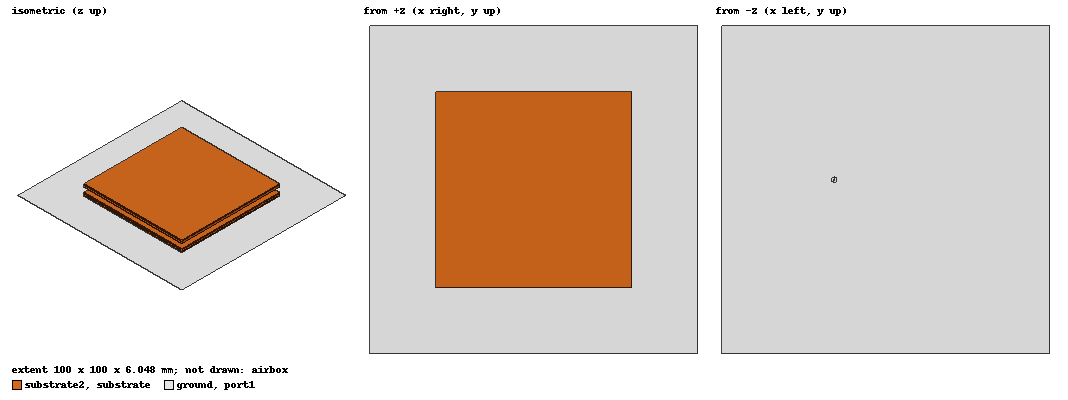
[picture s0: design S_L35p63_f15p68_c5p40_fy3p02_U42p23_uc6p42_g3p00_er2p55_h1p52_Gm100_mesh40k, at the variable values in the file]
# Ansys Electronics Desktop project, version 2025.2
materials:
  vacuum: permittivity=1
  substrate_design: permittivity=2.55 permeability=1 dielectric_loss_tangent=0.0018
  copper: permeability=0.999991 conductivity=58000000
  pec: conductivity=1e+30

design S_L35p63_f15p68_c5p40_fy3p02_U42p23_uc6p42_g3p00_er2p55_h1p52_Gm100_mesh40k (HFSS, HFSS Modal Network, model units mm)
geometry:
  substrate [substrate_design] = box(corner=(-30mm, -30mm, 0mm), size=(60mm, 60mm, 1.524mm))
  ground = rectangle(corner=(-50mm, -50mm, 0mm), x_size=100mm, y_size=100mm)
  hole1 = circle(normal=Z, centre=(15.68mm, 3.02mm, 0mm), radius=0.8mm)
  ground.subtract(hole1)
  patch = polyline(z=1.524mm, xy in mm: (-12.415, 17.815) (17.815, 17.815) (17.815, -12.415) (12.415, -17.815) (-17.815, -17.815) (-17.815, 12.415) (-12.415, 17.815), closed, covered)
  substrate2 [substrate_design] = box(corner=(-30mm, -30mm, 4.524mm), size=(60mm, 60mm, 1.524mm))
  patch2 = polyline(z=4.524mm, xy in mm: (-14.695, 21.115) (21.115, 21.115) (21.115, -14.695) (14.695, -21.115) (-21.115, -21.115) (-21.115, 14.695) (-14.695, 21.115), closed, covered)
  pin1 [pec] = cylinder(axis=Z, base_centre=(15.68mm, 3.02mm, 0mm), radius=0.25mm, height=1.524mm)
  pin1_1 = pin1.copy()
  substrate.subtract(pin1_1)
  port1 = circle(normal=Z, centre=(15.68mm, 3.02mm, 0mm), radius=0.8mm)
  inner1 = circle(normal=Z, centre=(15.68mm, 3.02mm, 0mm), radius=0.25mm)
  port1.subtract(inner1)
  airbox [vacuum] = box(corner=(-80.906439mm, -80.906439mm, -30.906439mm), size=(161.81288mm, 161.81288mm, 67.860878mm))
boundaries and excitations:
  Cu_sheets: Finite Conductivity Objects=[patch, ground, patch2] UseMaterial Material=copper Roughness=0mm IsInternal
  Rad__8KGVE2: Radiation Objects=airbox
  P1: Lumped Port Objects=port1 LumpedPortType=Modal Modes{Mode1{IntLine{(15.93, 3.02, 0) -> (16.48, 3.02, 0)} CharImp=Zpi RenormImp=50ohm}} Impedance=50ohm
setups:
  Setup1: HfssDriven Frequency=2.425GHz MaxDeltaS=1e-05 MaximumPasses=16 MinimumPasses=1 MinimumConvergedPasses=2 PercentRefinement=30 BasisOrder=1 PortAccuracy=2 DrivenSolverType="Direct Solver"
    sweep S: 2.2GHz to 2.7GHz, 1001 points; Type=Interpolating InterpTolerance=0.5 InterpMaxSolns=250 InterpUsePortImped=false PassivityErrorTolerance=0.0001
    sweep FF: 2.325GHz to 2.525GHz step 0.005GHz; Type=Discrete SaveFields
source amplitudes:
  P1:1: 1W 0deg
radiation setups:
  ff: Infinite Sphere Theta=-180deg..180deg step 2deg Phi=0deg..90deg step 90deg
